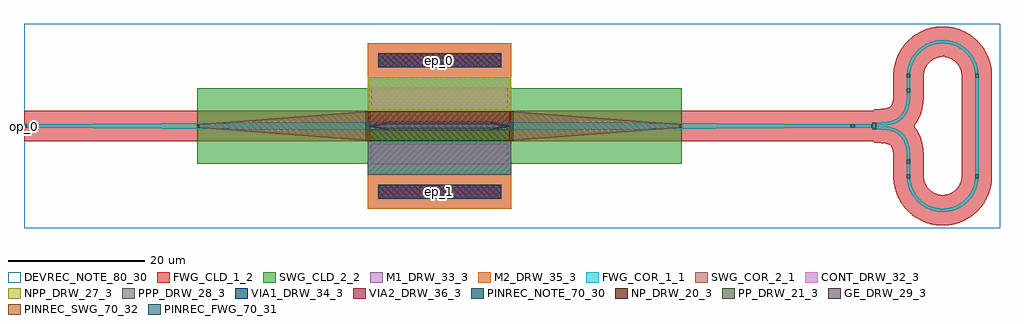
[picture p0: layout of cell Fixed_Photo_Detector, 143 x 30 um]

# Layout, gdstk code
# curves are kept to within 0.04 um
from math import pi, radians
import gdstk
lib = gdstk.Library(unit=1e-6, precision=1e-09)
def R(c, l, rs):  # rectangles x0, y0, x1, y1
    for r in rs: c.add(gdstk.rectangle(r[:2], r[2:], *l))
def P(c, l, *ps):  # polygons
    for p in ps: c.add(gdstk.Polygon(p, *l))
FWG_COR_1_1 = (1, 1)
FWG_CLD_1_2 = (1, 2)
SWG_COR_2_1 = (2, 1)
SWG_CLD_2_2 = (2, 2)
NP_DRW_20_3 = (20, 3)
PP_DRW_21_3 = (21, 3)
NPP_DRW_27_3 = (27, 3)
PPP_DRW_28_3 = (28, 3)
GE_DRW_29_3 = (29, 3)
CONT_DRW_32_3 = (32, 3)
M1_DRW_33_3 = (33, 3)
VIA1_DRW_34_3 = (34, 3)
M2_DRW_35_3 = (35, 3)
VIA2_DRW_36_3 = (36, 3)
PINREC_NOTE_70_30 = (70, 30)
PINREC_FWG_70_31 = (70, 31)
PINREC_SWG_70_32 = (70, 32)
DEVREC_NOTE_80_30 = (80, 30)

wg_x7 = lib.new_cell('wg_x7')
P(wg_x7, FWG_COR_1_1, [(0,0.25),(50.4,0.625),(50.4,-0.625),(0,-0.25)])
P(wg_x7, FWG_CLD_1_2, [(0,2.225),(50.4,2.225),(50.4,0.625),(50.4,-0.625),(50.4,-2.225),(0,-2.225),(0,-0.25),(0,0.25)])
R(wg_x7, PINREC_FWG_70_31, [(50.1,-0.625,50.4,0.625), (0,-0.25,0.3,0.25)])
wg_x7.add(gdstk.Label('op_0', (0,0), layer=70, texttype=41))
wg_x7.add(gdstk.Label('op_1', (50.4,0), layer=70, texttype=41))

taperlinear = lib.new_cell('TaperLinear')
R(taperlinear, PINREC_FWG_70_31, [(50.1,-0.625,50.4,0.625), (0,-0.25,0.3,0.25)])
taperlinear.add(gdstk.Reference(wg_x7, (0,0)))
taperlinear.add(gdstk.Label('op_0', (0,0), layer=70, texttype=41))
taperlinear.add(gdstk.Label('op_1', (50.4,0), layer=70, texttype=41))

c_wg = lib.new_cell('wg')
P(c_wg, FWG_COR_1_1, [(0,0.625),(50,0.25),(50,-0.25),(0,-0.625)])
P(c_wg, FWG_CLD_1_2, [(0,2.225),(50,2.225),(50,0.25),(50,-0.25),(50,-2.225),(0,-2.225),(0,-0.625),(0,0.625)])
R(c_wg, PINREC_FWG_70_31, [(0,-0.625,0.3,0.625), (49.7,-0.25,50,0.25)])
c_wg.add(gdstk.Label('op_0', (0,0), layer=70, texttype=41))
c_wg.add(gdstk.Label('op_1', (50,0), layer=70, texttype=41))

taperlinear_x2 = lib.new_cell('TaperLinear_x2')
R(taperlinear_x2, PINREC_FWG_70_31, [(0,-0.625,0.3,0.625), (49.7,-0.25,50,0.25)])
taperlinear_x2.add(gdstk.Reference(c_wg, (0,0)))
taperlinear_x2.add(gdstk.Label('op_0', (0,0), layer=70, texttype=41))
taperlinear_x2.add(gdstk.Label('op_1', (50,0), layer=70, texttype=41))

wg_x8 = lib.new_cell('wg_x8')
R(wg_x8, FWG_COR_1_1, [(0,-0.625,21,0.625)])
P(wg_x8, FWG_CLD_1_2, [(0,2.225),(21,2.225),(21,0.625),(21,-0.625),(21,-2.225),(0,-2.225),(0,-0.625),(0,0.625)])
R(wg_x8, PINREC_FWG_70_31, [(0,-0.625,0.3,0.625), (20.7,-0.625,21,0.625)])
wg_x8.add(gdstk.Label('op_0', (0,0), layer=70, texttype=41))
wg_x8.add(gdstk.Label('op_1', (21,0), layer=70, texttype=41))

straight_x2 = lib.new_cell('Straight_x2')
R(straight_x2, PINREC_FWG_70_31, [(0,-0.625,0.3,0.625), (20.7,-0.625,21,0.625)])
straight_x2.add(gdstk.Reference(wg_x8, (0,0)))
straight_x2.add(gdstk.Label('op_0', (0,0), layer=70, texttype=41))
straight_x2.add(gdstk.Label('op_1', (21,0), layer=70, texttype=41))

wg_x5 = lib.new_cell('wg_x5')
R(wg_x5, FWG_COR_1_1, [(-3.1,-0.25,0,0.25)])
P(wg_x5, FWG_CLD_1_2, [(-3.1,2.225),(0,2.225),(0,0.25),(0,-0.25),(0,-2.225),(-3.1,-2.225),(-3.1,-0.25),(-3.1,0.25)])
R(wg_x5, PINREC_FWG_70_31, [(-3.1,-0.25,-2.8,0.25), (-0.3,-0.25,0,0.25)])
wg_x5.add(gdstk.Label('op_0', (-3.1,0), layer=70, texttype=41))
wg_x5.add(gdstk.Label('op_1', (0,0), layer=70, texttype=41))

straight_x1 = lib.new_cell('Straight_x1')
R(straight_x1, PINREC_FWG_70_31, [(-3.1,-0.25,-2.8,0.25), (-0.3,-0.25,0,0.25)])
straight_x1.add(gdstk.Reference(wg_x5, (0,0)))
straight_x1.add(gdstk.Label('op_0', (-3.1,0), layer=70, texttype=41))
straight_x1.add(gdstk.Label('op_1', (0,0), layer=70, texttype=41))

wg_x9 = lib.new_cell('wg_x9')
P(wg_x9, FWG_COR_1_1, [(-0.1,0.25),(0,0.5),(0,-0.5),(-0.1,-0.25)])
P(wg_x9, FWG_CLD_1_2, [(-0.1,2.225),(0,2.475),(0,0.5),(0,-0.5),(0,-2.475),(-0.1,-2.225),(-0.1,-0.25),(-0.1,0.25)])
R(wg_x9, PINREC_FWG_70_31, [(-0.3,-0.5,0,0.5), (-0.1,-0.25,0.2,0.25)])
wg_x9.add(gdstk.Label('op_0', (-0.1,0), layer=70, texttype=41))
wg_x9.add(gdstk.Label('op_1', (0,0), layer=70, texttype=41))

taperlinear_x3 = lib.new_cell('TaperLinear_x3')
R(taperlinear_x3, PINREC_FWG_70_31, [(-0.3,-0.5,0,0.5), (-0.1,-0.25,0.2,0.25)])
taperlinear_x3.add(gdstk.Reference(wg_x9, (0,0)))
taperlinear_x3.add(gdstk.Label('op_0', (-0.1,0), layer=70, texttype=41))
taperlinear_x3.add(gdstk.Label('op_1', (0,0), layer=70, texttype=41))

wg_x3 = lib.new_cell('wg_x3')
P(wg_x3, FWG_COR_1_1, [(0,0.25),(1.358,0.285),(2.315,0.436),(3.081,0.719),(3.706,1.147),(4.2,1.769),(4.542,2.601),(4.708,3.553),(4.75,5),(5.25,5),(5.201,3.46),(4.997,2.375),(4.582,1.434),(4.007,0.745),(3.566,0.418),(3.039,0.15),(2.391,-0.06),(1.73,-0.18),(0,-0.25)])
P(wg_x3, FWG_CLD_1_2, [(0,2.225),(1.569,2.297),(2.057,2.422),(2.382,2.613),(2.564,2.908),(2.703,3.431),(2.775,5),(7.225,5),(7.195,3.615),(7.074,2.591),(6.826,1.609),(6.417,0.663),(5.892,-0.128),(5.255,-0.787),(4.539,-1.302),(3.66,-1.729),(2.926,-1.962),(2.036,-2.132),(0,-2.225)])
R(wg_x3, PINREC_FWG_70_31, [(0,-0.25,0.3,0.25), (4.75,4.7,5.25,5)])
wg_x3.add(gdstk.Label('op_0', (0,0), layer=70, texttype=41))
wg_x3.add(gdstk.Label('op_1', (5,5), layer=70, texttype=41))

bendeuler = lib.new_cell('BendEuler')
R(bendeuler, PINREC_FWG_70_31, [(0,-0.25,0.3,0.25), (4.75,4.7,5.25,5)])
bendeuler.add(gdstk.Reference(wg_x3, (0,0)))
bendeuler.add(gdstk.Label('op_0', (0,0), layer=70, texttype=41))
bendeuler.add(gdstk.Label('op_1', (5,5), layer=70, texttype=41))

ysplitter = lib.new_cell('YSplitter')
R(ysplitter, PINREC_FWG_70_31, [(4.75,-5.25,5.25,-4.95), (-3.2,-0.25,-2.9,0.25), (4.75,4.95,5.25,5.25)])
ysplitter.add(gdstk.Reference(straight_x1, (-0.1,0)))
ysplitter.add(gdstk.Reference(taperlinear_x3, (0,0)))
ysplitter.add(gdstk.Reference(bendeuler, (0,0.25)))
ysplitter.add(gdstk.Reference(bendeuler, (0,-0.25), x_reflection=True))
ysplitter.add(gdstk.Label('op_0', (-3.2,0), layer=70, texttype=41))
ysplitter.add(gdstk.Label('op_1', (5,-5.25), layer=70, texttype=41))
ysplitter.add(gdstk.Label('op_1', (5,5.25), layer=70, texttype=41))

wg_xc = lib.new_cell('wg_xc')
R(wg_xc, FWG_COR_1_1, [(-1.05,-0.25,1.05,0.25)])
P(wg_xc, FWG_CLD_1_2, [(-1.05,2.225),(1.05,2.225),(1.05,0.25),(1.05,-0.25),(1.05,-2.225),(-1.05,-2.225),(-1.05,-0.25),(-1.05,0.25)])
R(wg_xc, PINREC_FWG_70_31, [(-1.05,-0.25,-0.75,0.25), (0.75,-0.25,1.05,0.25)])
wg_xc.add(gdstk.Label('op_0', (-1.05,0), layer=70, texttype=41))
wg_xc.add(gdstk.Label('op_1', (1.05,0), layer=70, texttype=41))

straight_x3 = lib.new_cell('Straight_x3')
R(straight_x3, PINREC_FWG_70_31, [(-1.05,-0.25,-0.75,0.25), (0.75,-0.25,1.05,0.25)])
straight_x3.add(gdstk.Reference(wg_xc, (0,0)))
straight_x3.add(gdstk.Label('op_0', (-1.05,0), layer=70, texttype=41))
straight_x3.add(gdstk.Label('op_1', (1.05,0), layer=70, texttype=41))

wg_x4 = lib.new_cell('wg_x4')
R(wg_x4, FWG_COR_1_1, [(-7.35,-0.25,7.35,0.25)])
P(wg_x4, FWG_CLD_1_2, [(-7.35,2.225),(7.35,2.225),(7.35,0.25),(7.35,-0.25),(7.35,-2.225),(-7.35,-2.225),(-7.35,-0.25),(-7.35,0.25)])
R(wg_x4, PINREC_FWG_70_31, [(-7.35,-0.25,-7.05,0.25), (7.05,-0.25,7.35,0.25)])
wg_x4.add(gdstk.Label('op_0', (-7.35,0), layer=70, texttype=41))
wg_x4.add(gdstk.Label('op_1', (7.35,0), layer=70, texttype=41))

straight = lib.new_cell('Straight')
R(straight, PINREC_FWG_70_31, [(-7.35,-0.25,-7.05,0.25), (7.05,-0.25,7.35,0.25)])
straight.add(gdstk.Reference(wg_x4, (0,0)))
straight.add(gdstk.Label('op_0', (-7.35,0), layer=70, texttype=41))
straight.add(gdstk.Label('op_1', (7.35,0), layer=70, texttype=41))

wg_xa = lib.new_cell('wg_xa')
P(wg_xa, FWG_COR_1_1, [(139.35,7.35),(139.263,8.256),(139.004,9.129),(138.584,9.937),(137.959,10.709),(137.187,11.334),(136.379,11.754),(135.506,12.013),(134.6,12.1),(133.775,12.028),(132.975,11.814),(132.154,11.422),(131.422,10.88),(130.757,10.142),(130.261,9.282),(129.954,8.338),(129.85,7.35),(129.35,7.381),(129.446,8.352),(129.767,9.401),(130.299,10.361),(130.953,11.127),(131.741,11.753),(132.633,12.218),(133.598,12.504),(134.6,12.6),(135.692,12.485),(136.735,12.146),(137.686,11.597),(138.502,10.863),(139.235,9.815),(139.694,8.62),(139.85,7.35)])
P(wg_xa, FWG_CLD_1_2, [(137.375,7.35),(137.324,7.879),(137.173,8.39),(136.901,8.902),(136.596,9.278),(136.152,9.651),(135.64,9.923),(135.129,10.074),(134.6,10.125),(134.071,10.074),(133.56,9.923),(133.048,9.651),(132.672,9.346),(132.299,8.902),(132.027,8.39),(131.876,7.879),(131.825,7.35),(127.375,7.35),(127.375,7.394),(127.533,8.852),(127.949,10.173),(128.61,11.39),(129.491,12.459),(130.56,13.34),(131.777,14.001),(133.098,14.417),(133.845,14.536),(134.6,14.575),(135.606,14.505),(136.712,14.259),(137.767,13.844),(138.64,13.34),(139.435,12.719),(140.215,11.897),(140.857,10.963),(141.345,9.939),(141.715,8.605),(141.825,7.35)])
R(wg_xa, PINREC_FWG_70_31, [(129.35,7.35,129.85,7.65), (139.35,7.35,139.85,7.65)])
wg_xa.add(gdstk.Label('op_0', (139.6,7.35), layer=70, texttype=41))
wg_xa.add(gdstk.Label('op_1', (129.6,7.35), layer=70, texttype=41))

wg_xb = lib.new_cell('wg_xb')
P(wg_xb, FWG_COR_1_1, [(129.85,-7.35),(129.937,-8.256),(130.196,-9.129),(130.616,-9.937),(131.241,-10.709),(132.013,-11.334),(132.821,-11.754),(133.694,-12.013),(134.6,-12.1),(135.425,-12.028),(136.225,-11.814),(137.046,-11.422),(137.778,-10.88),(138.443,-10.142),(138.939,-9.282),(139.246,-8.338),(139.35,-7.35),(139.85,-7.381),(139.754,-8.352),(139.433,-9.401),(138.901,-10.361),(138.247,-11.127),(137.459,-11.753),(136.567,-12.218),(135.602,-12.504),(134.6,-12.6),(133.508,-12.485),(132.465,-12.146),(131.514,-11.597),(130.698,-10.863),(129.965,-9.815),(129.506,-8.62),(129.35,-7.35)])
P(wg_xb, FWG_CLD_1_2, [(131.825,-7.35),(131.876,-7.879),(132.027,-8.39),(132.299,-8.902),(132.604,-9.278),(133.048,-9.651),(133.56,-9.923),(134.071,-10.074),(134.6,-10.125),(135.129,-10.074),(135.64,-9.923),(136.152,-9.651),(136.528,-9.346),(136.901,-8.902),(137.173,-8.39),(137.324,-7.879),(137.375,-7.35),(141.825,-7.35),(141.825,-7.394),(141.667,-8.852),(141.251,-10.173),(140.59,-11.39),(139.709,-12.459),(138.64,-13.34),(137.423,-14.001),(136.102,-14.417),(135.355,-14.536),(134.6,-14.575),(133.594,-14.505),(132.488,-14.259),(131.433,-13.844),(130.56,-13.34),(129.765,-12.719),(128.985,-11.897),(128.343,-10.963),(127.855,-9.939),(127.485,-8.605),(127.375,-7.35)])
R(wg_xb, PINREC_FWG_70_31, [(129.35,-7.65,129.85,-7.35), (139.35,-7.65,139.85,-7.35)])
wg_xb.add(gdstk.Label('op_0', (129.6,-7.35), layer=70, texttype=41))
wg_xb.add(gdstk.Label('op_1', (139.6,-7.35), layer=70, texttype=41))

wg_x2 = lib.new_cell('wg_x2')
P(wg_x2, SWG_COR_2_1, [(0,0.25),(25,2.125),(25,-2.125),(0,-0.25)])
P(wg_x2, SWG_CLD_2_2, [(0,5.5),(25,5.5),(25,2.125),(25,-2.125),(25,-5.5),(0,-5.5),(0,-0.25),(0,0.25)])
R(wg_x2, PINREC_SWG_70_32, [(24.7,-2.125,25,2.125), (0,-0.25,0.3,0.25)])
wg_x2.add(gdstk.Label('op_0', (0,0), layer=70, texttype=41))
wg_x2.add(gdstk.Label('op_1', (25,0), layer=70, texttype=41))

taperlinear_x4 = lib.new_cell('TaperLinear_x4')
R(taperlinear_x4, PINREC_SWG_70_32, [(24.7,-2.125,25,2.125), (0,-0.25,0.3,0.25)])
taperlinear_x4.add(gdstk.Reference(wg_x2, (0,0)))
taperlinear_x4.add(gdstk.Label('op_0', (0,0), layer=70, texttype=41))
taperlinear_x4.add(gdstk.Label('op_1', (25,0), layer=70, texttype=41))

wg_x1 = lib.new_cell('wg_x1')
P(wg_x1, SWG_COR_2_1, [(0,2.125),(25,0.25),(25,-0.25),(0,-2.125)])
P(wg_x1, SWG_CLD_2_2, [(0,5.5),(25,5.5),(25,0.25),(25,-0.25),(25,-5.5),(0,-5.5),(0,-2.125),(0,2.125)])
R(wg_x1, PINREC_SWG_70_32, [(0,-2.125,0.3,2.125), (24.7,-0.25,25,0.25)])
wg_x1.add(gdstk.Label('op_0', (0,0), layer=70, texttype=41))
wg_x1.add(gdstk.Label('op_1', (25,0), layer=70, texttype=41))

taperlinear_x1 = lib.new_cell('TaperLinear_x1')
R(taperlinear_x1, PINREC_SWG_70_32, [(0,-2.125,0.3,2.125), (24.7,-0.25,25,0.25)])
taperlinear_x1.add(gdstk.Reference(wg_x1, (0,0)))
taperlinear_x1.add(gdstk.Label('op_0', (0,0), layer=70, texttype=41))
taperlinear_x1.add(gdstk.Label('op_1', (25,0), layer=70, texttype=41))

wg_x6 = lib.new_cell('wg_x6')
R(wg_x6, SWG_COR_2_1, [(0,-2.125,21,2.125)])
P(wg_x6, SWG_CLD_2_2, [(0,5.5),(21,5.5),(21,2.125),(21,-2.125),(21,-5.5),(0,-5.5),(0,-2.125),(0,2.125)])
R(wg_x6, PINREC_SWG_70_32, [(0,-2.125,0.3,2.125), (20.7,-2.125,21,2.125)])
wg_x6.add(gdstk.Label('op_0', (0,0), layer=70, texttype=41))
wg_x6.add(gdstk.Label('op_1', (21,0), layer=70, texttype=41))

straight_x4 = lib.new_cell('Straight_x4')
R(straight_x4, PINREC_SWG_70_32, [(0,-2.125,0.3,2.125), (20.7,-2.125,21,2.125)])
straight_x4.add(gdstk.Reference(wg_x6, (0,0)))
straight_x4.add(gdstk.Label('op_0', (0,0), layer=70, texttype=41))
straight_x4.add(gdstk.Label('op_1', (21,0), layer=70, texttype=41))

fixed_photo_detector = lib.new_cell('Fixed_Photo_Detector')
R(fixed_photo_detector, FWG_COR_1_1, [(50.4,-7.125,71.4,-2.125), (50.4,2.125,71.4,7.125)])
R(fixed_photo_detector, NP_DRW_20_3, [(50.4,0.625,71.4,2.125)])
P(fixed_photo_detector, NP_DRW_20_3, [(50.4,0),(50.4,2.125),(71.4,2.125),(71.4,0),(70.4,0),(68.4,0.275),(53.4,0.275),(51.4,0)])
R(fixed_photo_detector, PP_DRW_21_3, [(50.4,-2.125,71.4,-0.625)])
P(fixed_photo_detector, PP_DRW_21_3, [(50.4,0),(50.4,-2.125),(71.4,-2.125),(71.4,0),(70.4,0),(68.4,-0.275),(53.4,-0.275),(51.4,0)])
R(fixed_photo_detector, NPP_DRW_27_3, [(50.4,2.125,71.4,7.125)])
R(fixed_photo_detector, PPP_DRW_28_3, [(50.4,-7.125,71.4,-2.125)])
P(fixed_photo_detector, GE_DRW_29_3, [(53.4,-0.625),(50.4,-0.1),(50.4,0.1),(53.4,0.625),(68.4,0.625),(71.4,0.1),(71.4,-0.1),(68.4,-0.625)])
R(fixed_photo_detector, CONT_DRW_32_3, [(50.9,-5.625,70.9,-2.625), (50.9,2.625,70.9,5.625)])
R(fixed_photo_detector, M1_DRW_33_3, [(50.4,-12.125,71.4,-2.125), (50.4,2.125,71.4,12.125)])
R(fixed_photo_detector, VIA1_DRW_34_3, [(51.9,-10.635,69.9,-8.635), (51.9,8.635,69.9,10.635)])
R(fixed_photo_detector, M2_DRW_35_3, [(50.4,-12.125,71.4,-2.125), (50.4,2.125,71.4,12.125)])
R(fixed_photo_detector, VIA2_DRW_36_3, [(51.9,-10.635,69.9,-8.635), (51.9,8.635,69.9,10.635)])
R(fixed_photo_detector, PINREC_NOTE_70_30, [(51.9,-10.625,69.9,-8.625), (51.9,8.625,69.9,10.625)])
R(fixed_photo_detector, PINREC_FWG_70_31, [(0,-0.25,0.3,0.25)])
R(fixed_photo_detector, DEVREC_NOTE_80_30, [(0,-15,143,15)])
fixed_photo_detector.add(gdstk.Reference(taperlinear, (0,0)))
fixed_photo_detector.add(gdstk.Reference(taperlinear_x2, (71.4,0)))
fixed_photo_detector.add(gdstk.Reference(straight_x2, (50.4,0)))
fixed_photo_detector.add(gdstk.Reference(ysplitter, (124.6,0)))
fixed_photo_detector.add(gdstk.Reference(straight_x3, (129.6,6.3), rotation=pi/2))
fixed_photo_detector.add(gdstk.Reference(straight_x3, (129.6,-6.3), rotation=pi/2))
fixed_photo_detector.add(gdstk.Reference(straight, (139.6,0), rotation=pi/2))
fixed_photo_detector.add(gdstk.Reference(wg_xa, (0,0)))
fixed_photo_detector.add(gdstk.Reference(wg_xb, (0,0)))
fixed_photo_detector.add(gdstk.Reference(taperlinear_x4, (25.4,0)))
fixed_photo_detector.add(gdstk.Reference(taperlinear_x1, (71.4,0)))
fixed_photo_detector.add(gdstk.Reference(straight_x4, (50.4,0)))
fixed_photo_detector.add(gdstk.Label('op_0', (0,0), layer=70, texttype=41))
fixed_photo_detector.add(gdstk.Label('ep_0', (60.9,9.625), layer=70, texttype=41))
fixed_photo_detector.add(gdstk.Label('ep_1', (60.9,-9.625), layer=70, texttype=41))

lib.write_gds('Fixed_Photo_Detector.gds')
